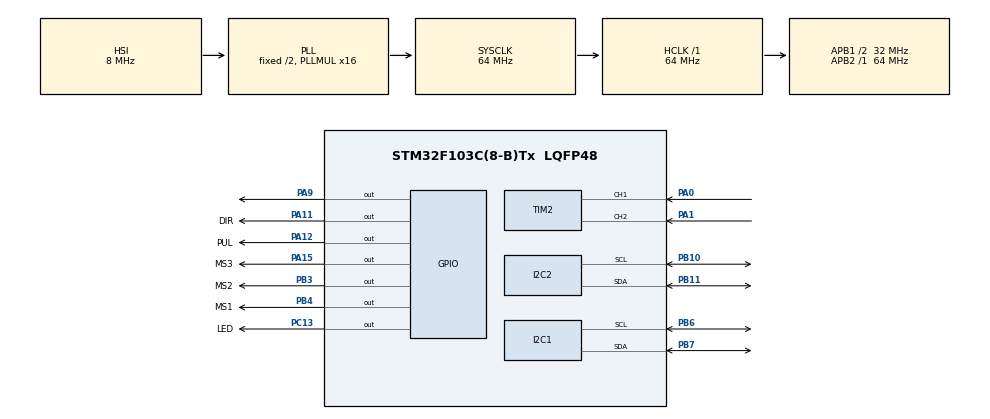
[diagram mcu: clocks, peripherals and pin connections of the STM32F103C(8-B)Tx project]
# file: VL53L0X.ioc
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Mcu.Family=STM32F1
Mcu.Name=STM32F103C(8-B)Tx
Mcu.Package=LQFP48
NVIC.I2C1_ER_IRQn=true\:0\:0\:false\:false\:true\:true\:true\:true
NVIC.I2C1_EV_IRQn=true\:0\:0\:false\:false\:true\:true\:true\:true
NVIC.PriorityGroup=NVIC_PRIORITYGROUP_4
NVIC.TIM2_IRQn=true\:0\:0\:false\:false\:true\:true\:true\:true
PA0-WKUP.Signal=S_TIM2_CH1_ETR
PA1.Signal=S_TIM2_CH2
PA11.GPIO_Label=DIR
PA11.Signal=GPIO_Output
PA12.GPIO_Label=PUL
PA12.Signal=GPIO_Output
PA13.Mode=Serial_Wire
PA13.Signal=SYS_JTMS-SWDIO
PA14.Mode=Serial_Wire
PA14.Signal=SYS_JTCK-SWCLK
PA15.GPIO_Label=MS3
PA15.Signal=GPIO_Output
PA9.Signal=GPIO_Output
PB10.Mode=I2C
PB10.Signal=I2C2_SCL
PB11.Mode=I2C
PB11.Signal=I2C2_SDA
PB3.GPIO_Label=MS2
PB3.Signal=GPIO_Output
PB4.GPIO_Label=MS1
PB4.Signal=GPIO_Output
PB6.Mode=I2C
PB6.Signal=I2C1_SCL
PB7.Mode=I2C
PB7.Signal=I2C1_SDA
PC13-TAMPER-RTC.GPIO_Label=LED
PC13-TAMPER-RTC.Signal=GPIO_Output
ProjectManager.HeapSize=0x200
ProjectManager.StackSize=0x400
ProjectManager.TargetToolchain=MDK-ARM V5.32
RCC.AHBFreq_Value=64000000
RCC.APB1CLKDivider=RCC_HCLK_DIV2
RCC.APB1Freq_Value=32000000
RCC.APB1TimFreq_Value=64000000
RCC.APB2Freq_Value=64000000
RCC.APB2TimFreq_Value=64000000
RCC.HCLKFreq_Value=64000000
RCC.PLLMUL=RCC_PLL_MUL16
RCC.SYSCLKFreq_VALUE=64000000
RCC.SYSCLKSource=RCC_SYSCLKSOURCE_PLLCLK
RCC.USBFreq_Value=64000000
SH.S_TIM2_CH1_ETR.0=TIM2_CH1,Encoder_Interface
SH.S_TIM2_CH2.0=TIM2_CH2,Encoder_Interface
board=custom

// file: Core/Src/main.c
/* USER CODE BEGIN Header */
/**
  ******************************************************************************
  * @file           : main.c
  * @brief          : Main program body
  ******************************************************************************
  * @attention
  *
  * Copyright (c) 2023 STMicroelectronics.
  * All rights reserved.
  *
  * This software is licensed under terms that can be found in the LICENSE file
  * in the root directory of this software component.
  * If no LICENSE file comes with this software, it is provided AS-IS.
  *
  ******************************************************************************
  */
/* USER CODE END Header */
#include "main.h"

/* USER CODE BEGIN Includes */
#include <stdio.h>
#include "vl53l0x_api.h"

/* USER CODE END Includes */

 I2C_HandleTypeDef hi2c1;
I2C_HandleTypeDef hi2c2;

TIM_HandleTypeDef htim2;

/* USER CODE BEGIN PV */
	uint8_t Message[64];
	uint8_t MessageLen;

	VL53L0X_RangingMeasurementData_t RangingData;
	VL53L0X_Dev_t  vl53l0x_c; // center module
	VL53L0X_DEV    Dev = &vl53l0x_c;
/* USER CODE END PV */

void SystemClock_Config(void);
static void MX_GPIO_Init(void);
static void MX_I2C1_Init(void);
static void MX_I2C2_Init(void);
static void MX_TIM2_Init(void);

/* USER CODE BEGIN 0 */
uint16_t value;
uint16_t count;
/* USER CODE END 0 */

int main(void)
{
  /* USER CODE BEGIN 1 */
		uint32_t refSpadCount;
    uint8_t isApertureSpads;
    uint8_t VhvSettings;
    uint8_t PhaseCal;
  /* USER CODE END 1 */

  /* MCU Configuration--------------------------------------------------------*/

  /* Reset of all peripherals, Initializes the Flash interface and the Systick. */
  HAL_Init();

  /* Configure the system clock */
  SystemClock_Config();

  /* Initialize all configured peripherals */
  MX_GPIO_Init();
  MX_I2C1_Init();
  MX_I2C2_Init();
  MX_TIM2_Init();
  /* USER CODE BEGIN 2 */
	Dev->I2cHandle = &hi2c1;
	Dev->I2cDevAddr = 0x52;

	VL53L0X_WaitDeviceBooted( Dev );
  VL53L0X_DataInit( Dev );
  VL53L0X_StaticInit( Dev );
  VL53L0X_PerformRefCalibration(Dev, &VhvSettings, &PhaseCal);
  VL53L0X_PerformRefSpadManagement(Dev, &refSpadCount, &isApertureSpads);
  VL53L0X_SetDeviceMode(Dev, VL53L0X_DEVICEMODE_SINGLE_RANGING);

  // Enable/Disable Sigma and Signal check
  VL53L0X_SetLimitCheckEnable(Dev, VL53L0X_CHECKENABLE_SIGMA_FINAL_RANGE, 1);
  VL53L0X_SetLimitCheckEnable(Dev, VL53L0X_CHECKENABLE_SIGNAL_RATE_FINAL_RANGE, 1);
  VL53L0X_SetLimitCheckValue(Dev, VL53L0X_CHECKENABLE_SIGNAL_RATE_FINAL_RANGE, (FixPoint1616_t)(0.1*65536));
  VL53L0X_SetLimitCheckValue(Dev, VL53L0X_CHECKENABLE_SIGMA_FINAL_RANGE, (FixPoint1616_t)(60*65536));
  VL53L0X_SetMeasurementTimingBudgetMicroSeconds(Dev, 33000);
  VL53L0X_SetVcselPulsePeriod(Dev, VL53L0X_VCSEL_PERIOD_PRE_RANGE, 18);
  VL53L0X_SetVcselPulsePeriod(Dev, VL53L0X_VCSEL_PERIOD_FINAL_RANGE, 14);
  /* USER CODE END 2 */

  /* Infinite loop */
  /* USER CODE BEGIN WHILE */
  while (1)
  {
		VL53L0X_PerformSingleRangingMeasurement(Dev, &RangingData);
	  value = RangingData.RangeMilliMeter;
    /* USER CODE END WHILE */

  }
}

void SystemClock_Config(void)
{
  RCC_OscInitTypeDef RCC_OscInitStruct = {0};
  RCC_ClkInitTypeDef RCC_ClkInitStruct = {0};

  /** Initializes the RCC Oscillators according to the specified parameters
  * in the RCC_OscInitTypeDef structure.
  */
  RCC_OscInitStruct.OscillatorType = RCC_OSCILLATORTYPE_HSI;
  RCC_OscInitStruct.HSIState = RCC_HSI_ON;
  RCC_OscInitStruct.HSICalibrationValue = RCC_HSICALIBRATION_DEFAULT;
  RCC_OscInitStruct.PLL.PLLState = RCC_PLL_ON;
  RCC_OscInitStruct.PLL.PLLSource = RCC_PLLSOURCE_HSI_DIV2;
  RCC_OscInitStruct.PLL.PLLMUL = RCC_PLL_MUL16;
  if (HAL_RCC_OscConfig(&RCC_OscInitStruct) != HAL_OK)
  {
    Error_Handler();
  }

  /** Initializes the CPU, AHB and APB buses clocks
  */
  RCC_ClkInitStruct.ClockType = RCC_CLOCKTYPE_HCLK|RCC_CLOCKTYPE_SYSCLK
                              |RCC_CLOCKTYPE_PCLK1|RCC_CLOCKTYPE_PCLK2;
  RCC_ClkInitStruct.SYSCLKSource = RCC_SYSCLKSOURCE_PLLCLK;
  RCC_ClkInitStruct.AHBCLKDivider = RCC_SYSCLK_DIV1;
  RCC_ClkInitStruct.APB1CLKDivider = RCC_HCLK_DIV2;
  RCC_ClkInitStruct.APB2CLKDivider = RCC_HCLK_DIV1;

  if (HAL_RCC_ClockConfig(&RCC_ClkInitStruct, FLASH_LATENCY_2) != HAL_OK)
  {
    Error_Handler();
  }
}

static void MX_I2C1_Init(void)
{

  hi2c1.Instance = I2C1;
  hi2c1.Init.ClockSpeed = 100000;
  hi2c1.Init.DutyCycle = I2C_DUTYCYCLE_2;
  hi2c1.Init.OwnAddress1 = 0;
  hi2c1.Init.AddressingMode = I2C_ADDRESSINGMODE_7BIT;
  hi2c1.Init.DualAddressMode = I2C_DUALADDRESS_DISABLE;
  hi2c1.Init.OwnAddress2 = 0;
  hi2c1.Init.GeneralCallMode = I2C_GENERALCALL_DISABLE;
  hi2c1.Init.NoStretchMode = I2C_NOSTRETCH_DISABLE;
  if (HAL_I2C_Init(&hi2c1) != HAL_OK)
  {
    Error_Handler();
  }

}

static void MX_I2C2_Init(void)
{

  hi2c2.Instance = I2C2;
  hi2c2.Init.ClockSpeed = 100000;
  hi2c2.Init.DutyCycle = I2C_DUTYCYCLE_2;
  hi2c2.Init.OwnAddress1 = 0;
  hi2c2.Init.AddressingMode = I2C_ADDRESSINGMODE_7BIT;
  hi2c2.Init.DualAddressMode = I2C_DUALADDRESS_DISABLE;
  hi2c2.Init.OwnAddress2 = 0;
  hi2c2.Init.GeneralCallMode = I2C_GENERALCALL_DISABLE;
  hi2c2.Init.NoStretchMode = I2C_NOSTRETCH_DISABLE;
  if (HAL_I2C_Init(&hi2c2) != HAL_OK)
  {
    Error_Handler();
  }

}

static void MX_TIM2_Init(void)
{

  TIM_Encoder_InitTypeDef sConfig = {0};
  TIM_MasterConfigTypeDef sMasterConfig = {0};

  htim2.Instance = TIM2;
  htim2.Init.Prescaler = 0;
  htim2.Init.CounterMode = TIM_COUNTERMODE_UP;
  htim2.Init.Period = 65535;
  htim2.Init.ClockDivision = TIM_CLOCKDIVISION_DIV1;
  htim2.Init.AutoReloadPreload = TIM_AUTORELOAD_PRELOAD_DISABLE;
  sConfig.EncoderMode = TIM_ENCODERMODE_TI1;
  sConfig.IC1Polarity = TIM_ICPOLARITY_RISING;
  sConfig.IC1Selection = TIM_ICSELECTION_DIRECTTI;
  sConfig.IC1Prescaler = TIM_ICPSC_DIV1;
  sConfig.IC1Filter = 0;
  sConfig.IC2Polarity = TIM_ICPOLARITY_RISING;
  sConfig.IC2Selection = TIM_ICSELECTION_DIRECTTI;
  sConfig.IC2Prescaler = TIM_ICPSC_DIV1;
  sConfig.IC2Filter = 0;
  if (HAL_TIM_Encoder_Init(&htim2, &sConfig) != HAL_OK)
  {
    Error_Handler();
  }
  sMasterConfig.MasterOutputTrigger = TIM_TRGO_RESET;
  sMasterConfig.MasterSlaveMode = TIM_MASTERSLAVEMODE_DISABLE;
  if (HAL_TIMEx_MasterConfigSynchronization(&htim2, &sMasterConfig) != HAL_OK)
  {
    Error_Handler();
  }

}

static void MX_GPIO_Init(void)
{
  GPIO_InitTypeDef GPIO_InitStruct = {0};

  /* GPIO Ports Clock Enable */
  __HAL_RCC_GPIOC_CLK_ENABLE();
  __HAL_RCC_GPIOA_CLK_ENABLE();
  __HAL_RCC_GPIOB_CLK_ENABLE();

  /*Configure GPIO pin Output Level */
  HAL_GPIO_WritePin(LED_GPIO_Port, LED_Pin, GPIO_PIN_RESET);

  /*Configure GPIO pin Output Level */
  HAL_GPIO_WritePin(GPIOA, GPIO_PIN_9|DIR_Pin|PUL_Pin|MS3_Pin, GPIO_PIN_RESET);

  /*Configure GPIO pin Output Level */
  HAL_GPIO_WritePin(GPIOB, MS2_Pin|MS1_Pin, GPIO_PIN_RESET);

  /*Configure GPIO pin : LED_Pin */
  GPIO_InitStruct.Pin = LED_Pin;
  GPIO_InitStruct.Mode = GPIO_MODE_OUTPUT_PP;
  GPIO_InitStruct.Pull = GPIO_NOPULL;
  GPIO_InitStruct.Speed = GPIO_SPEED_FREQ_LOW;
  HAL_GPIO_Init(LED_GPIO_Port, &GPIO_InitStruct);

  /*Configure GPIO pins : PA9 DIR_Pin PUL_Pin MS3_Pin */
  GPIO_InitStruct.Pin = GPIO_PIN_9|DIR_Pin|PUL_Pin|MS3_Pin;
  GPIO_InitStruct.Mode = GPIO_MODE_OUTPUT_PP;
  GPIO_InitStruct.Pull = GPIO_NOPULL;
  GPIO_InitStruct.Speed = GPIO_SPEED_FREQ_LOW;
  HAL_GPIO_Init(GPIOA, &GPIO_InitStruct);

  /*Configure GPIO pins : MS2_Pin MS1_Pin */
  GPIO_InitStruct.Pin = MS2_Pin|MS1_Pin;
  GPIO_InitStruct.Mode = GPIO_MODE_OUTPUT_PP;
  GPIO_InitStruct.Pull = GPIO_NOPULL;
  GPIO_InitStruct.Speed = GPIO_SPEED_FREQ_LOW;
  HAL_GPIO_Init(GPIOB, &GPIO_InitStruct);

}

void Error_Handler(void)
{
  __disable_irq();
  while (1)
  {
  }
}
